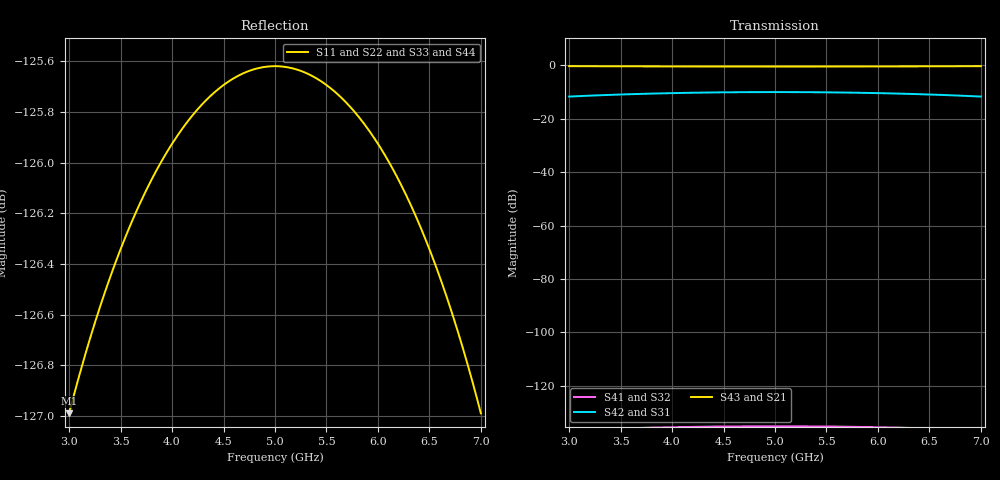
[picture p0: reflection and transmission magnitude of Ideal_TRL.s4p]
! Created Wed May  8 14:32:35 2024
# hz S ma R 50
! 4 Port Network Data from SP1.SP block
! freq  magS11  angS11  magS12  angS12  magS13  angS13  magS14  angS14
!  magS21  angS21  magS22  angS22  magS23  angS23  magS24  angS24
!  magS31  angS31  magS32  angS32  magS33  angS33  magS34  angS34
!  magS41  angS41  magS42  angS42  magS43  angS43  magS44  angS44
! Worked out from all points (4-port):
!   401 points, 3 GHz to 7 GHz, reference 50 ohm
!   strongest paths, dB at 3 GHz, 4 GHz, 5 GHz, 6 GHz, 7 GHz:
!     S43: -0.3, -0.4, -0.5, -0.4, -0.3
!     S21: -0.3, -0.4, -0.5, -0.4, -0.3
!     S42: -11.7, -10.4, -10.0, -10.4, -11.7
!     S31: -11.7, -10.4, -10.0, -10.4, -11.7
!     S41: -136.7, -135.5, -135.2, -135.5, -136.7
!     S32: -136.7, -135.5, -135.2, -135.5, -136.7
!   lowest |S11| = -127.0 dB at 3 GHz (marker M1), VSWR 1.00, Z = 50 - j2.89e-05 ohm
!   |S11| at or under -10 dB: start of sweep to end of sweep
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3e9  4.472e-07 -40.3  0.9655 -127.4  0.2604 -37.4  1.463e-07 87.2
     0.9655 -127.4  4.472e-07 -40.3  1.463e-07 87.2  0.2604 -37.4
     0.2604 -37.4  1.463e-07 87.2  4.472e-07 -40.3  0.9655 -127.4
     1.463e-07 87.2  0.2604 -37.4  0.9655 -127.4  4.472e-07 -40.3
3.91e9  5.02e-07 -77.1  0.9541 -165.2  0.2996 -75.2  1.663e-07 33.5
        0.9541 -165.2  5.02e-07 -77.1  1.663e-07 33.5  0.2996 -75.2
        0.2996 -75.2  1.663e-07 33.5  5.02e-07 -77.1  0.9541 -165.2
        1.663e-07 33.5  0.2996 -75.2  0.9541 -165.2  5.02e-07 -77.1
4.77e9  5.227e-07 -111.0  0.9489 159.4  0.3155 -110.6  1.742e-07 -16.6
        0.9489 159.4  5.227e-07 -111.0  1.742e-07 -16.6  0.3155 -110.6
        0.3155 -110.6  1.742e-07 -16.6  5.227e-07 -111.0  0.9489 159.4
        1.742e-07 -16.6  0.3155 -110.6  0.9489 159.4  5.227e-07 -111.0
5.32e9  5.219e-07 -132.5  0.9492 136.9  0.3148 -133.1  1.739e-07 -48.6
        0.9492 136.9  5.219e-07 -132.5  1.739e-07 -48.6  0.3148 -133.1
        0.3148 -133.1  1.739e-07 -48.6  5.219e-07 -132.5  0.9492 136.9
        1.739e-07 -48.6  0.3148 -133.1  0.9492 136.9  5.219e-07 -132.5
5.95e9  5.073e-07 -157.4  0.9528 110.9  0.3036 -159.1  1.683e-07 -85.3
        0.9528 110.9  5.073e-07 -157.4  1.683e-07 -85.3  0.3036 -159.1
        0.3036 -159.1  1.683e-07 -85.3  5.073e-07 -157.4  0.9528 110.9
        1.683e-07 -85.3  0.3036 -159.1  0.9528 110.9  5.073e-07 -157.4
6.48e9  4.83e-07 -178.6  0.9584 89.0  0.2855 179.0  1.592e-07 -116.4
        0.9584 89.0  4.83e-07 -178.6  1.592e-07 -116.4  0.2855 179.0
        0.2855 179.0  1.592e-07 -116.4  4.83e-07 -178.6  0.9584 89.0
        1.592e-07 -116.4  0.2855 179.0  0.9584 89.0  4.83e-07 -178.6
7e9  4.472e-07 160.3  0.9655 67.4  0.2604 157.4  1.463e-07 -147.2
     0.9655 67.4  4.472e-07 160.3  1.463e-07 -147.2  0.2604 157.4
     0.2604 157.4  1.463e-07 -147.2  4.472e-07 160.3  0.9655 67.4
     1.463e-07 -147.2  0.2604 157.4  0.9655 67.4  4.472e-07 160.3
